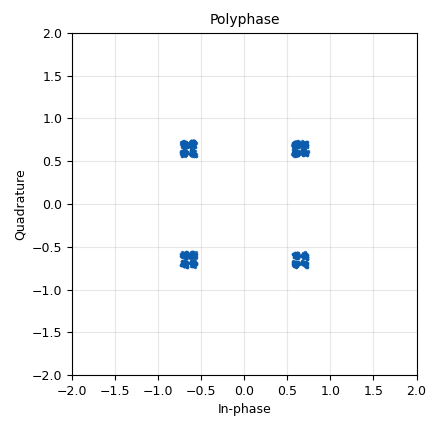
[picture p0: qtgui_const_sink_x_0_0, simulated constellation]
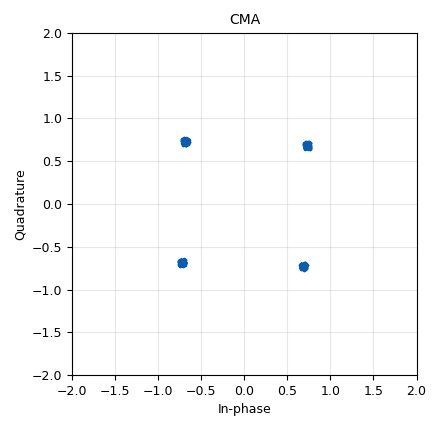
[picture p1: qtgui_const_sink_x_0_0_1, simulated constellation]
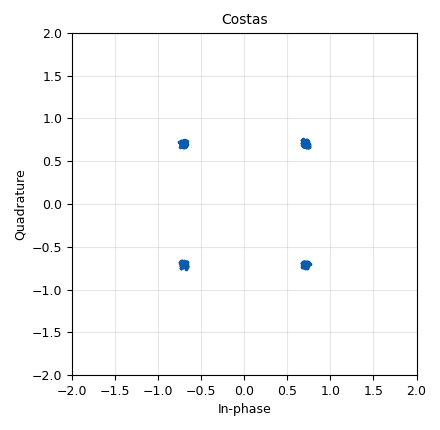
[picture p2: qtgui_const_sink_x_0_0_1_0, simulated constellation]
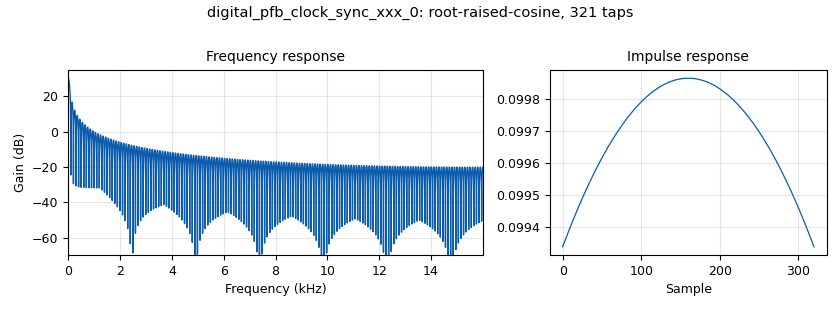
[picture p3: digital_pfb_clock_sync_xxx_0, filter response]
<?xml version='1.0' encoding='utf-8'?>
<?grc format='1' created='3.7.11'?>
<flow_graph>
<block>
<key>options</key>
<param><key>id</key><value>top_block</value></param>
<param><key>generate_options</key><value>qt_gui</value></param>
</block>
<block>
<key>variable_qtgui_range</key>
<param><key>id</key><value>delay</value></param>
<param><key>value</key><value>50</value></param>
<param><key>_enabled</key><value>0</value></param>
<param><key>orient</key><value>Qt.Horizontal</value></param>
<param><key>start</key><value>0</value></param>
<param><key>step</key><value>1</value></param>
<param><key>stop</key><value>200</value></param>
<param><key>rangeType</key><value>int</value></param>
</block>
<block>
<key>variable_qtgui_range</key>
<param><key>id</key><value>freq_offset</value></param>
<param><key>value</key><value>0</value></param>
<param><key>orient</key><value>Qt.Horizontal</value></param>
<param><key>start</key><value>-100e-3</value></param>
<param><key>step</key><value>1e-3</value></param>
<param><key>stop</key><value>100e-3</value></param>
</block>
<block>
<key>variable_qtgui_range</key>
<param><key>id</key><value>loopBW</value></param>
<param><key>value</key><value>62.8e-3</value></param>
<param><key>orient</key><value>Qt.Horizontal</value></param>
<param><key>start</key><value>0</value></param>
<param><key>step</key><value>10e-3</value></param>
<param><key>stop</key><value>200e-3</value></param>
</block>
<block>
<key>variable_qtgui_range</key>
<param><key>id</key><value>noise_volt</value></param>
<param><key>value</key><value>100e-6</value></param>
<param><key>orient</key><value>Qt.Horizontal</value></param>
<param><key>start</key><value>0</value></param>
<param><key>step</key><value>100e-6</value></param>
<param><key>stop</key><value>1</value></param>
</block>
<block>
<key>variable_constellation</key>
<param><key>id</key><value>qpsk</value></param>
<param><key>type</key><value>qpsk</value></param>
<param><key>precision</key><value>8</value></param>
</block>
<block>
<key>variable</key>
<param><key>id</key><value>samp_rate</value></param>
<param><key>value</key><value>32000</value></param>
</block>
<block>
<key>variable</key>
<param><key>id</key><value>sps</value></param>
<param><key>value</key><value>10</value></param>
</block>
<block>
<key>variable</key>
<param><key>id</key><value>taps_0</value></param>
<param><key>value</key><value>firdes.root_raised_cosine(taps_gain,samp_rate,sps,taps_bw,taps_count)</value></param>
</block>
<block>
<key>variable</key>
<param><key>id</key><value>taps_bw</value></param>
<param><key>value</key><value>0.35</value></param>
</block>
<block>
<key>variable_config</key>
<param><key>id</key><value>taps_conf</value></param>
<param><key>config_file</key><value>/home/xongile/Lab-Project/PothosFiles/out.txt</value></param>
<param><key>value</key><value>taps_0</value></param>
<param><key>_enabled</key><value>0</value></param>
<param><key>option</key><value>key</value></param>
<param><key>section</key><value>main</value></param>
<param><key>type</key><value>real</value></param>
<param><key>writeback</key><value>taps_0</value></param>
</block>
<block>
<key>variable</key>
<param><key>id</key><value>taps_count</value></param>
<param><key>value</key><value>32*sps</value></param>
</block>
<block>
<key>variable</key>
<param><key>id</key><value>taps_gain</value></param>
<param><key>value</key><value>32</value></param>
</block>
<block>
<key>variable_qtgui_range</key>
<param><key>id</key><value>time_offset</value></param>
<param><key>value</key><value>1</value></param>
<param><key>orient</key><value>Qt.Horizontal</value></param>
<param><key>start</key><value>999e-3</value></param>
<param><key>step</key><value>100e-6</value></param>
<param><key>stop</key><value>1.001</value></param>
</block>
<block>
<key>analog_random_source_x</key>
<param><key>id</key><value>analog_random_source_x_0</value></param>
<param><key>max</key><value>256</value></param>
<param><key>min</key><value>0</value></param>
<param><key>num_samps</key><value>100</value></param>
<param><key>type</key><value>byte</value></param>
<param><key>repeat</key><value>True</value></param>
</block>
<block>
<key>blocks_char_to_float</key>
<param><key>id</key><value>blocks_char_to_float_0</value></param>
<param><key>_enabled</key><value>0</value></param>
<param><key>scale</key><value>1</value></param>
</block>
<block>
<key>blocks_char_to_float</key>
<param><key>id</key><value>blocks_char_to_float_0_0</value></param>
<param><key>_enabled</key><value>0</value></param>
<param><key>scale</key><value>1</value></param>
</block>
<block>
<key>blocks_delay</key>
<param><key>id</key><value>blocks_delay_0</value></param>
<param><key>delay</key><value>delay</value></param>
<param><key>_enabled</key><value>0</value></param>
<param><key>type</key><value>float</value></param>
</block>
<block>
<key>blocks_sub_xx</key>
<param><key>id</key><value>blocks_sub_xx_0</value></param>
<param><key>_enabled</key><value>0</value></param>
<param><key>type</key><value>float</value></param>
</block>
<block>
<key>blocks_throttle</key>
<param><key>id</key><value>blocks_throttle_0</value></param>
<param><key>_enabled</key><value>0</value></param>
<param><key>samples_per_second</key><value>samp_rate</value></param>
<param><key>type</key><value>byte</value></param>
</block>
<block>
<key>blocks_throttle</key>
<param><key>id</key><value>blocks_throttle_1</value></param>
<param><key>samples_per_second</key><value>samp_rate</value></param>
<param><key>type</key><value>complex</value></param>
</block>
<block>
<key>blocks_throttle</key>
<param><key>id</key><value>blocks_throttle_1_0</value></param>
<param><key>_enabled</key><value>0</value></param>
<param><key>samples_per_second</key><value>samp_rate</value></param>
<param><key>type</key><value>byte</value></param>
</block>
<block>
<key>blocks_uchar_to_float</key>
<param><key>id</key><value>blocks_uchar_to_float_0</value></param>
<param><key>_enabled</key><value>0</value></param>
</block>
<block>
<key>blocks_unpack_k_bits_bb</key>
<param><key>id</key><value>blocks_unpack_k_bits_bb_0</value></param>
<param><key>_enabled</key><value>0</value></param>
<param><key>k</key><value>2</value></param>
</block>
<block>
<key>blocks_unpack_k_bits_bb</key>
<param><key>id</key><value>blocks_unpack_k_bits_bb_0_0</value></param>
<param><key>_enabled</key><value>0</value></param>
<param><key>k</key><value>8</value></param>
</block>
<block>
<key>channels_channel_model</key>
<param><key>id</key><value>channels_channel_model_0</value></param>
<param><key>epsilon</key><value>time_offset</value></param>
<param><key>freq_offset</key><value>freq_offset</value></param>
<param><key>noise_voltage</key><value>noise_volt</value></param>
<param><key>seed</key><value>0</value></param>
<param><key>taps</key><value>1.0 </value></param>
</block>
<block>
<key>digital_cma_equalizer_cc</key>
<param><key>id</key><value>digital_cma_equalizer_cc_0</value></param>
<param><key>mu</key><value>10e-3</value></param>
<param><key>modulus</key><value>1</value></param>
<param><key>num_taps</key><value>11</value></param>
<param><key>sps</key><value>2</value></param>
</block>
<block>
<key>digital_constellation_modulator</key>
<param><key>id</key><value>digital_constellation_modulator_0</value></param>
<param><key>constellation</key><value>qpsk</value></param>
<param><key>differential</key><value>True</value></param>
<param><key>excess_bw</key><value>0.35</value></param>
<param><key>samples_per_symbol</key><value>sps</value></param>
</block>
<block>
<key>digital_costas_loop_cc</key>
<param><key>id</key><value>digital_costas_loop_cc_0</value></param>
<param><key>w</key><value>62.8e-3</value></param>
<param><key>order</key><value>4</value></param>
</block>
<block>
<key>digital_diff_decoder_bb</key>
<param><key>id</key><value>digital_diff_decoder_bb_0</value></param>
<param><key>_enabled</key><value>0</value></param>
<param><key>modulus</key><value>4</value></param>
</block>
<block>
<key>digital_map_bb</key>
<param><key>id</key><value>digital_map_bb_0</value></param>
<param><key>_enabled</key><value>0</value></param>
<param><key>map</key><value>0,1,3,2</value></param>
</block>
<block>
<key>digital_pfb_clock_sync_xxx</key>
<param><key>id</key><value>digital_pfb_clock_sync_xxx_0</value></param>
<param><key>filter_size</key><value>32</value></param>
<param><key>init_phase</key><value>16</value></param>
<param><key>loop_bw</key><value>loopBW</value></param>
<param><key>max_dev</key><value>1.5</value></param>
<param><key>osps</key><value>2</value></param>
<param><key>sps</key><value>sps</value></param>
<param><key>taps</key><value>taps_0</value></param>
<param><key>type</key><value>ccf</value></param>
</block>
<block>
<key>digital_psk_demod</key>
<param><key>id</key><value>digital_psk_demod_0</value></param>
<param><key>differential</key><value>True</value></param>
<param><key>_enabled</key><value>0</value></param>
<param><key>excess_bw</key><value>0.35</value></param>
<param><key>freq_bw</key><value>6.28/100.0</value></param>
<param><key>mod_code</key><value>"none"</value></param>
<param><key>constellation_points</key><value>4</value></param>
<param><key>phase_bw</key><value>6.28/100.0</value></param>
<param><key>samples_per_symbol</key><value>2</value></param>
<param><key>timing_bw</key><value>6.28/100.0</value></param>
</block>
<block>
<key>qtgui_const_sink_x</key>
<param><key>id</key><value>qtgui_const_sink_x_0</value></param>
<param><key>_enabled</key><value>0</value></param>
<param><key>size</key><value>1024</value></param>
<param><key>type</key><value>complex</value></param>
</block>
<block>
<key>qtgui_const_sink_x</key>
<param><key>id</key><value>qtgui_const_sink_x_0_0</value></param>
<param><key>name</key><value>"Polyphase"</value></param>
<param><key>size</key><value>1024</value></param>
<param><key>type</key><value>complex</value></param>
</block>
<block>
<key>qtgui_const_sink_x</key>
<param><key>id</key><value>qtgui_const_sink_x_0_0_0</value></param>
<param><key>_enabled</key><value>0</value></param>
<param><key>size</key><value>1024</value></param>
<param><key>type</key><value>complex</value></param>
</block>
<block>
<key>qtgui_const_sink_x</key>
<param><key>id</key><value>qtgui_const_sink_x_0_0_1</value></param>
<param><key>name</key><value>"CMA"</value></param>
<param><key>size</key><value>1024</value></param>
<param><key>type</key><value>complex</value></param>
</block>
<block>
<key>qtgui_const_sink_x</key>
<param><key>id</key><value>qtgui_const_sink_x_0_0_1_0</value></param>
<param><key>name</key><value>"Costas"</value></param>
<param><key>size</key><value>1024</value></param>
<param><key>type</key><value>complex</value></param>
</block>
<block>
<key>qtgui_freq_sink_x</key>
<param><key>id</key><value>qtgui_freq_sink_x_0</value></param>
<param><key>bw</key><value>samp_rate</value></param>
<param><key>fc</key><value>0</value></param>
<param><key>_enabled</key><value>0</value></param>
<param><key>fftsize</key><value>1024</value></param>
<param><key>showports</key><value>True</value></param>
<param><key>type</key><value>complex</value></param>
<param><key>wintype</key><value>firdes.WIN_BLACKMAN_hARRIS</value></param>
</block>
<block>
<key>qtgui_freq_sink_x</key>
<param><key>id</key><value>qtgui_freq_sink_x_0_0</value></param>
<param><key>bw</key><value>samp_rate</value></param>
<param><key>fc</key><value>0</value></param>
<param><key>_enabled</key><value>0</value></param>
<param><key>fftsize</key><value>1024</value></param>
<param><key>name</key><value>"CMA"</value></param>
<param><key>showports</key><value>True</value></param>
<param><key>type</key><value>complex</value></param>
<param><key>wintype</key><value>firdes.WIN_BLACKMAN_hARRIS</value></param>
</block>
<block>
<key>qtgui_freq_sink_x</key>
<param><key>id</key><value>qtgui_freq_sink_x_0_0_0</value></param>
<param><key>bw</key><value>samp_rate</value></param>
<param><key>fc</key><value>0</value></param>
<param><key>_enabled</key><value>0</value></param>
<param><key>fftsize</key><value>1024</value></param>
<param><key>name</key><value>"Costas"</value></param>
<param><key>showports</key><value>True</value></param>
<param><key>type</key><value>complex</value></param>
<param><key>wintype</key><value>firdes.WIN_BLACKMAN_hARRIS</value></param>
</block>
<block>
<key>qtgui_histogram_sink_x</key>
<param><key>id</key><value>qtgui_histogram_sink_x_0</value></param>
<param><key>_enabled</key><value>0</value></param>
<param><key>xmax</key><value>256</value></param>
<param><key>xmin</key><value>0</value></param>
<param><key>bins</key><value>256</value></param>
<param><key>size</key><value>1024</value></param>
<param><key>type</key><value>float</value></param>
</block>
<block>
<key>qtgui_time_sink_x</key>
<param><key>id</key><value>qtgui_time_sink_x_0</value></param>
<param><key>_enabled</key><value>0</value></param>
<param><key>color1</key><value>"blue"</value></param>
<param><key>label1</key><value></value></param>
<param><key>color2</key><value>"red"</value></param>
<param><key>label2</key><value></value></param>
<param><key>size</key><value>1024</value></param>
<param><key>srate</key><value>samp_rate</value></param>
<param><key>type</key><value>complex</value></param>
</block>
<block>
<key>qtgui_time_sink_x</key>
<param><key>id</key><value>qtgui_time_sink_x_0_0</value></param>
<param><key>_enabled</key><value>0</value></param>
<param><key>color1</key><value>"blue"</value></param>
<param><key>label1</key><value></value></param>
<param><key>size</key><value>1024</value></param>
<param><key>srate</key><value>samp_rate</value></param>
<param><key>type</key><value>float</value></param>
</block>
<block>
<key>qtgui_time_sink_x</key>
<param><key>id</key><value>qtgui_time_sink_x_0_0_0</value></param>
<param><key>_enabled</key><value>0</value></param>
<param><key>color1</key><value>"blue"</value></param>
<param><key>label1</key><value></value></param>
<param><key>size</key><value>1024</value></param>
<param><key>srate</key><value>samp_rate</value></param>
<param><key>type</key><value>float</value></param>
</block>
<block>
<key>qtgui_time_sink_x</key>
<param><key>id</key><value>qtgui_time_sink_x_0_0_1</value></param>
<param><key>_enabled</key><value>0</value></param>
<param><key>color1</key><value>"blue"</value></param>
<param><key>label1</key><value></value></param>
<param><key>size</key><value>1024</value></param>
<param><key>srate</key><value>samp_rate</value></param>
<param><key>type</key><value>float</value></param>
</block>
<connection><source_block_id>analog_random_source_x_0</source_block_id><sink_block_id>blocks_throttle_0</sink_block_id><source_key>0</source_key><sink_key>0</sink_key></connection>
<connection><source_block_id>analog_random_source_x_0</source_block_id><sink_block_id>blocks_throttle_1_0</sink_block_id><source_key>0</source_key><sink_key>0</sink_key></connection>
<connection><source_block_id>analog_random_source_x_0</source_block_id><sink_block_id>digital_constellation_modulator_0</sink_block_id><source_key>0</source_key><sink_key>0</sink_key></connection>
<connection><source_block_id>blocks_char_to_float_0</source_block_id><sink_block_id>blocks_sub_xx_0</sink_block_id><source_key>0</source_key><sink_key>0</sink_key></connection>
<connection><source_block_id>blocks_char_to_float_0</source_block_id><sink_block_id>qtgui_time_sink_x_0_0_1</sink_block_id><source_key>0</source_key><sink_key>0</sink_key></connection>
<connection><source_block_id>blocks_char_to_float_0_0</source_block_id><sink_block_id>blocks_delay_0</sink_block_id><source_key>0</source_key><sink_key>0</sink_key></connection>
<connection><source_block_id>blocks_delay_0</source_block_id><sink_block_id>blocks_sub_xx_0</sink_block_id><source_key>0</source_key><sink_key>1</sink_key></connection>
<connection><source_block_id>blocks_delay_0</source_block_id><sink_block_id>qtgui_time_sink_x_0_0_0</sink_block_id><source_key>0</source_key><sink_key>0</sink_key></connection>
<connection><source_block_id>blocks_sub_xx_0</source_block_id><sink_block_id>qtgui_time_sink_x_0_0</sink_block_id><source_key>0</source_key><sink_key>0</sink_key></connection>
<connection><source_block_id>blocks_throttle_0</source_block_id><sink_block_id>blocks_uchar_to_float_0</sink_block_id><source_key>0</source_key><sink_key>0</sink_key></connection>
<connection><source_block_id>blocks_throttle_1</source_block_id><sink_block_id>channels_channel_model_0</sink_block_id><source_key>0</source_key><sink_key>0</sink_key></connection>
<connection><source_block_id>blocks_throttle_1_0</source_block_id><sink_block_id>blocks_unpack_k_bits_bb_0_0</sink_block_id><source_key>0</source_key><sink_key>0</sink_key></connection>
<connection><source_block_id>blocks_uchar_to_float_0</source_block_id><sink_block_id>qtgui_histogram_sink_x_0</sink_block_id><source_key>0</source_key><sink_key>0</sink_key></connection>
<connection><source_block_id>blocks_unpack_k_bits_bb_0</source_block_id><sink_block_id>blocks_char_to_float_0</sink_block_id><source_key>0</source_key><sink_key>0</sink_key></connection>
<connection><source_block_id>blocks_unpack_k_bits_bb_0_0</source_block_id><sink_block_id>blocks_char_to_float_0_0</sink_block_id><source_key>0</source_key><sink_key>0</sink_key></connection>
<connection><source_block_id>channels_channel_model_0</source_block_id><sink_block_id>digital_pfb_clock_sync_xxx_0</sink_block_id><source_key>0</source_key><sink_key>0</sink_key></connection>
<connection><source_block_id>channels_channel_model_0</source_block_id><sink_block_id>qtgui_const_sink_x_0</sink_block_id><source_key>0</source_key><sink_key>0</sink_key></connection>
<connection><source_block_id>channels_channel_model_0</source_block_id><sink_block_id>qtgui_const_sink_x_0_0_0</sink_block_id><source_key>0</source_key><sink_key>0</sink_key></connection>
<connection><source_block_id>channels_channel_model_0</source_block_id><sink_block_id>qtgui_freq_sink_x_0</sink_block_id><source_key>0</source_key><sink_key>0</sink_key></connection>
<connection><source_block_id>channels_channel_model_0</source_block_id><sink_block_id>qtgui_time_sink_x_0</sink_block_id><source_key>0</source_key><sink_key>0</sink_key></connection>
<connection><source_block_id>digital_cma_equalizer_cc_0</source_block_id><sink_block_id>digital_costas_loop_cc_0</sink_block_id><source_key>0</source_key><sink_key>0</sink_key></connection>
<connection><source_block_id>digital_cma_equalizer_cc_0</source_block_id><sink_block_id>qtgui_const_sink_x_0_0_1</sink_block_id><source_key>0</source_key><sink_key>0</sink_key></connection>
<connection><source_block_id>digital_cma_equalizer_cc_0</source_block_id><sink_block_id>qtgui_freq_sink_x_0_0</sink_block_id><source_key>0</source_key><sink_key>0</sink_key></connection>
<connection><source_block_id>digital_constellation_modulator_0</source_block_id><sink_block_id>blocks_throttle_1</sink_block_id><source_key>0</source_key><sink_key>0</sink_key></connection>
<connection><source_block_id>digital_costas_loop_cc_0</source_block_id><sink_block_id>digital_psk_demod_0</sink_block_id><source_key>0</source_key><sink_key>0</sink_key></connection>
<connection><source_block_id>digital_costas_loop_cc_0</source_block_id><sink_block_id>qtgui_const_sink_x_0_0_1_0</sink_block_id><source_key>0</source_key><sink_key>0</sink_key></connection>
<connection><source_block_id>digital_costas_loop_cc_0</source_block_id><sink_block_id>qtgui_freq_sink_x_0_0_0</sink_block_id><source_key>0</source_key><sink_key>0</sink_key></connection>
<connection><source_block_id>digital_diff_decoder_bb_0</source_block_id><sink_block_id>blocks_unpack_k_bits_bb_0</sink_block_id><source_key>0</source_key><sink_key>0</sink_key></connection>
<connection><source_block_id>digital_map_bb_0</source_block_id><sink_block_id>digital_diff_decoder_bb_0</sink_block_id><source_key>0</source_key><sink_key>0</sink_key></connection>
<connection><source_block_id>digital_pfb_clock_sync_xxx_0</source_block_id><sink_block_id>digital_cma_equalizer_cc_0</sink_block_id><source_key>0</source_key><sink_key>0</sink_key></connection>
<connection><source_block_id>digital_pfb_clock_sync_xxx_0</source_block_id><sink_block_id>qtgui_const_sink_x_0_0</sink_block_id><source_key>0</source_key><sink_key>0</sink_key></connection>
<connection><source_block_id>digital_psk_demod_0</source_block_id><sink_block_id>digital_map_bb_0</sink_block_id><source_key>0</source_key><sink_key>0</sink_key></connection>
</flow_graph>
